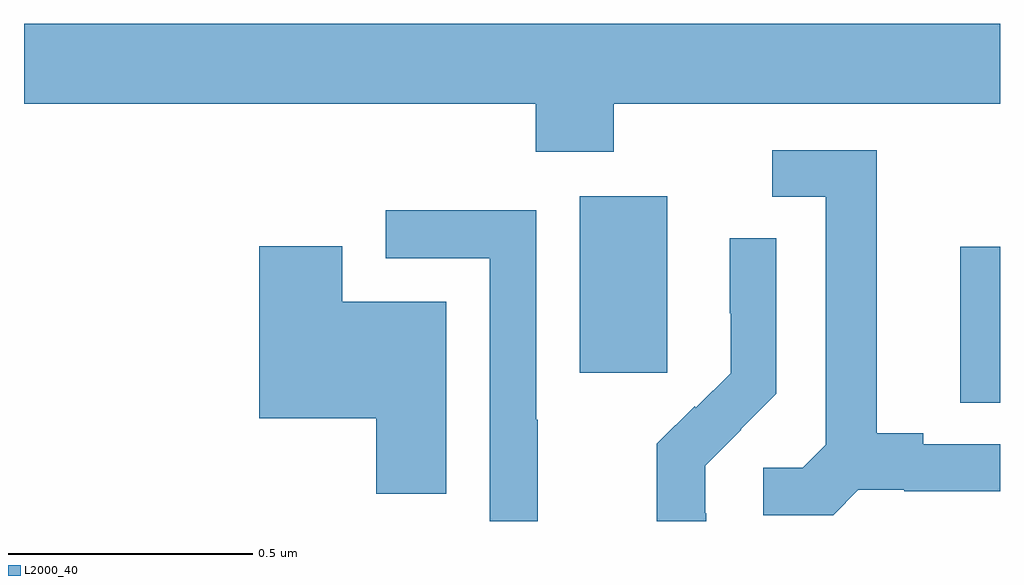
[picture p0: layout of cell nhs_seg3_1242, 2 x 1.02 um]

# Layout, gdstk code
import gdstk
lib = gdstk.Library(unit=1e-6, precision=1e-09)
def R(c, l, rs):  # rectangles x0, y0, x1, y1
    for r in rs: c.add(gdstk.rectangle(r[:2], r[2:], *l))
def P(c, l, *ps):  # polygons
    for p in ps: c.add(gdstk.Polygon(p, *l))
L2000_40 = (2000, 40)

nhs_seg3_1242 = lib.new_cell('nhs_seg3_1242')
R(nhs_seg3_1242, L2000_40, [(127.919,693.643,128,693.963), (127.139,693.705,127.318,694.066)])
P(nhs_seg3_1242, L2000_40, [(127.209,694.256),(128,694.256),(128,694.42),(126,694.42),(126,694.256),(127.049,694.256),(127.049,694.157),(127.209,694.157)],
  [(127.71,693.465),(127.804,693.465),(127.804,693.462),(128,693.462),(128,693.558),(127.843,693.558),(127.843,693.581),(127.747,693.581),(127.747,694.161),(127.533,694.161),(127.533,694.065),(127.643,694.065),(127.643,693.557),(127.596,693.51),(127.515,693.51),(127.515,693.413),(127.658,693.413)],
  [(127.053,693.608),(127.05,693.608),(127.05,694.038),(126.741,694.038),(126.741,693.939),(126.954,693.939),(126.954,693.4),(127.053,693.4)],
  [(127.398,693.417),(127.396,693.417),(127.396,693.514),(127.47,693.588),(127.469,693.589),(127.542,693.662),(127.542,693.98),(127.446,693.98),(127.446,693.826),(127.448,693.826),(127.448,693.704),(127.377,693.633),(127.374,693.636),(127.297,693.559),(127.297,693.4),(127.398,693.4)],
  [(126.865,693.85),(126.652,693.85),(126.652,693.964),(126.482,693.964),(126.482,693.611),(126.722,693.611),(126.722,693.457),(126.865,693.457)])

lib.write_gds('nhs_seg3_1242.gds')
